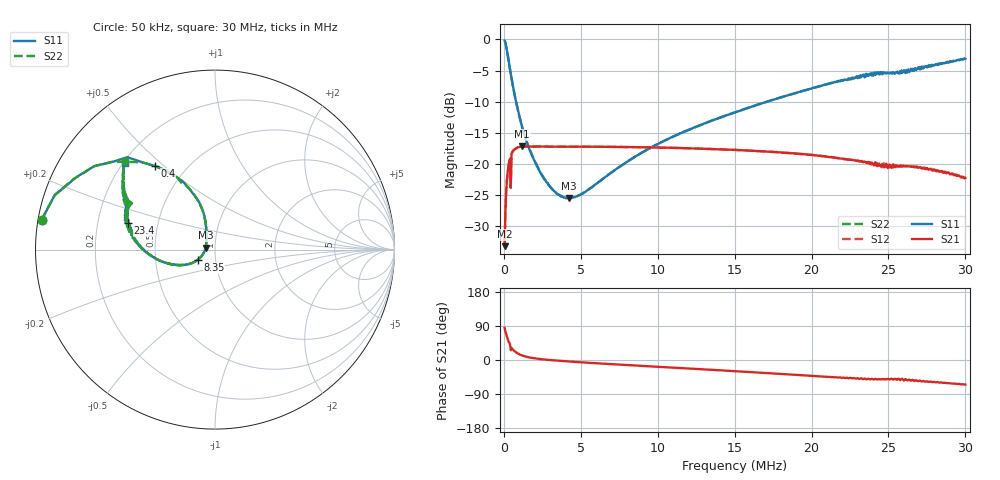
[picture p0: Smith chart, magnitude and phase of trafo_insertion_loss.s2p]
# MHz S MA R 50
!  freq  S11  S21  S12  S22
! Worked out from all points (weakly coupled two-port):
!   600 points, 50 kHz to 30 MHz, reference 50 ohm
!   highest |S21| = -17.12 dB at 1.2 MHz (marker M1); lowest = -33.2 dB at 50 kHz (marker M2)
!   lowest |S11| = -25.5 dB at 4.25 MHz (marker M3), VSWR 1.11, Z = 45 + j0.951 ohm
!   |S11| at or under -10 dB: 795.2 kHz to 17.09 MHz (16.29 MHz wide, 182 % of centre)
!   |S22| runs from -25.5 to -0.2 dB; largest |S21 - S12| = 0.007
!   S11 on the Smith chart (normalised r, x): 50 kHz: 0.01, +0.08; 400 kHz: 0.33, +0.47; 8.35 MHz: 0.82, -0.09; 23.4 MHz: 0.33, +0.13; 30 MHz: 0.21, +0.39
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0.05  0.9803 170.4  0.02199 84.9  0.02212 85.0  0.9802 170.2
0.15  0.8724 152.5  0.05945 69.3  0.05935 69.2  0.8791 153.3
0.25  0.7493 139.2  0.0864 56.2  0.08646 56.0  0.7502 139.2
0.4  0.5752 125.8  0.1105 42.1  0.1106 42.2  0.5749 125.8
0.55  0.4508 117.6  0.1245 29.4  0.125 29.3  0.4509 117.5
0.7  0.3604 112.5  0.1313 23.2  0.1315 23.2  0.3605 112.4
0.9  0.2774 108.4  0.1368 17.5  0.1361 17.4  0.2792 108.4
1.2  0.1965 107.3  0.1393 11.7  0.1374 11.7  0.1947 108.6
1.8  0.1195 113.6  0.1381 5.7  0.139 5.7  0.1206 114.8
2.65  0.07534 128.9  0.1382 1.3  0.138 1.2  0.0754 128.8
3.5  0.05759 148.9  0.1381 -1.8  0.1381 -1.8  0.05755 149.0
4.25  0.05332 168.6  0.1381 -4.0  0.138 -4.0  0.05324 168.5
5.05  0.05772 -174.3  0.1379 -6.0  0.1381 -6.2  0.05773 -173.9
8.35  0.1112 -149.5  0.1371 -14.1  0.1371 -14.2  0.1111 -149.4
10.05  0.1461 -149.7  0.1358 -18.1  0.1357 -17.9  0.1458 -149.4
15.05  0.261 -162.2  0.13 -29.5  0.1299 -29.5  0.2605 -161.9
17.7  0.3334 -171.4  0.1248 -36.0  0.1245 -36.0  0.3343 -171.4
20.05  0.4074 179.2  0.1184 -42.0  0.1181 -41.9  0.4054 179.0
23.4  0.5085 163.0  0.1041 -50.0  0.1037 -50.3  0.5188 162.8
25.05  0.5355 156.0  0.09916 -50.9  0.09368 -49.8  0.5382 151.7
26.9  0.594 149.4  0.09359 -55.9  0.09531 -53.6  0.5691 149.5
30  0.6979 136.0  0.07743 -64.8  0.07641 -65.1  0.7049 135.4
